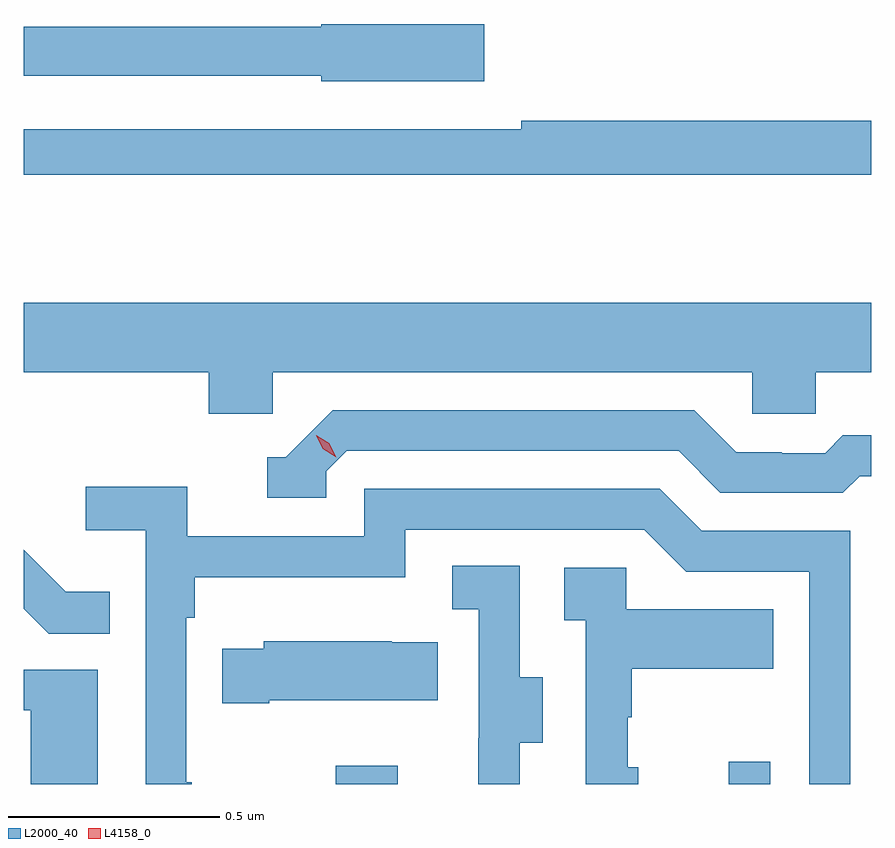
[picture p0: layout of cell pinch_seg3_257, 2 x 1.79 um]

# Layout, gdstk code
import gdstk
lib = gdstk.Library(unit=1e-6, precision=1e-09)
def R(c, l, rs):  # rectangles x0, y0, x1, y1
    for r in rs: c.add(gdstk.rectangle(r[:2], r[2:], *l))
def P(c, l, *ps):  # polygons
    for p in ps: c.add(gdstk.Polygon(p, *l))
L2000_40 = (2000, 40)
L4158_0 = (4158, 0)

pinch_seg3_257 = lib.new_cell('pinch_seg3_257')
R(pinch_seg3_257, L2000_40, [(946.6,718.593,946.747,718.636), (947.528,718.593,947.625,718.645)])
P(pinch_seg3_257, L2000_40, [(946.951,720.386),(946.566,720.386),(946.566,720.38),(945.864,720.38),(945.864,720.264),(946.566,720.264),(946.566,720.251),(946.951,720.251)],
  [(947.864,720.158),(947.038,720.158),(947.038,720.138),(945.864,720.138),(945.864,720.03),(947.864,720.03)],
  [(946.452,719.564),(947.583,719.564),(947.583,719.466),(947.733,719.466),(947.733,719.564),(947.864,719.564),(947.864,719.728),(945.864,719.728),(945.864,719.564),(946.301,719.564),(946.301,719.466),(946.452,719.466)],
  [(946.578,719.331),(946.626,719.379),(947.409,719.379),(947.508,719.28),(947.797,719.28),(947.836,719.319),(947.864,719.319),(947.864,719.416),(947.797,719.416),(947.755,719.373),(947.652,719.373),(947.652,719.376),(947.545,719.376),(947.446,719.475),(946.593,719.475),(946.482,719.364),(946.439,719.364),(946.439,719.268),(946.578,719.268)],
  [(946.261,718.597),(946.248,718.597),(946.248,718.985),(946.268,718.985),(946.268,719.081),(946.764,719.081),(946.764,719.193),(947.328,719.193),(947.427,719.094),(947.718,719.094),(947.718,718.593),(947.814,718.593),(947.814,719.19),(947.464,719.19),(947.365,719.289),(946.668,719.289),(946.668,719.178),(946.25,719.178),(946.25,719.294),(946.011,719.294),(946.011,719.192),(946.152,719.192),(946.152,718.593),(946.261,718.593)],
  [(946.067,719.047),(945.963,719.047),(945.864,719.146),(945.864,719.007),(945.923,718.948),(946.067,718.948)],
  [(947.035,718.69),(947.089,718.69),(947.089,718.845),(947.034,718.845),(947.034,719.108),(946.875,719.108),(946.875,719.005),(946.938,719.005),(946.938,718.701),(946.937,718.701),(946.937,718.593),(947.035,718.593)],
  [(947.314,718.632),(947.289,718.632),(947.289,718.751),(947.299,718.751),(947.299,718.865),(947.633,718.865),(947.633,719.005),(947.286,719.005),(947.286,719.103),(947.139,719.103),(947.139,718.979),(947.19,718.979),(947.19,718.593),(947.314,718.593)],
  [(946.444,718.79),(946.841,718.79),(946.841,718.927),(946.733,718.927),(946.733,718.93),(946.431,718.93),(946.431,718.912),(946.333,718.912),(946.333,718.783),(946.444,718.783)],
  [(946.039,718.863),(945.864,718.863),(945.864,718.767),(945.881,718.767),(945.881,718.593),(946.039,718.593)])
P(pinch_seg3_257, L4158_0, [(946.601,719.364),(946.57,719.384),(946.554,719.416),(946.554,719.416),(946.554,719.416),(946.585,719.397),(946.601,719.364),(946.601,719.364)])

lib.write_gds('pinch_seg3_257.gds')
